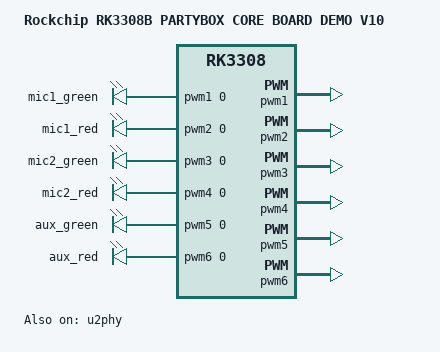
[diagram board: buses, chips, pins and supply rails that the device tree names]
// SPDX-License-Identifier: (GPL-2.0+ OR MIT)
/*
 * Copyright (c) 2024 Rockchip Electronics Co., Ltd
 */

/dts-v1/;
#include "rk3308-partybox.dtsi"

/ {
	model = "Rockchip RK3308B PARTYBOX CORE BOARD DEMO V10";
	compatible = "rockchip,rk3308-partybox-coreboard-demo-v10", "rockchip,rk3308";

	chosen {
		bootargs = "earlycon=uart8250,mmio32,0xff0c0000 console=ttyFIQ0 root=PARTUUID=614e0000-0000 rootfstype=squashfs rootwait isolcpus=2,3 nohz_full=2,3 snd_soc_core.prealloc_buffer_size_kbytes=64";
	};

	pwm-leds {
		compatible = "pwm-leds";

		mic1-green-led {
			label = "mic1_green";
			pwms = <&pwm1 0 50000 0>;
			default-state = "off";
		};
		mic1-red-led {
			label = "mic1_red";
			pwms = <&pwm2 0 50000 0>;
			default-state = "off";
		};
		mic2-green-led {
			label = "mic2_green";
			pwms = <&pwm3 0 50000 0>;
			default-state = "off";
		};
		mic2-red-led {
			label = "mic2_red";
			pwms = <&pwm4 0 50000 0>;
			default-state = "off";
		};
		aux-green-led {
			label = "aux_green";
			pwms = <&pwm5 0 50000 0>;
			default-state = "off";
		};
		aux-red-led {
			label = "aux_red";
			pwms = <&pwm6 0 50000 0>;
			default-state = "off";
		};
	};
};

&mic_dummy_codec {
	status = "disabled";
};

&mic_sound {
	status = "disabled";
};

&pwm1 {
	status = "okay";
};

&pwm2 {
	status = "okay";
};

&pwm3 {
	status = "okay";
};

&pwm4 {
	status = "okay";
};

&pwm5 {
	status = "okay";
};

&pwm6 {
	status = "okay";
};

&usb_host0_ehci {
	status = "disabled";
};

&usb_host0_ohci{
	status = "disabled";
};

&u2phy {
	status = "okay";

	u2phy_host: host-port {
		status = "disabled";
	};

	u2phy_otg: otg-port {
		status = "okay";
	};
};
